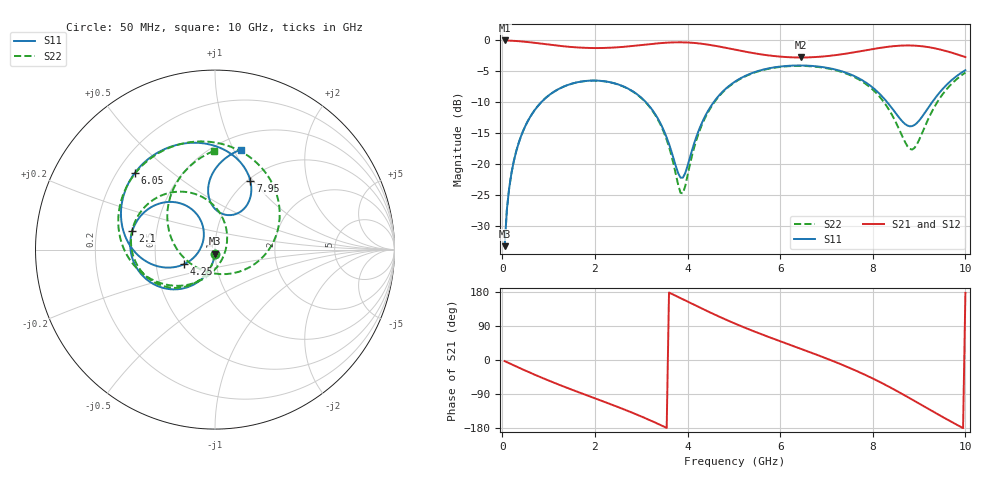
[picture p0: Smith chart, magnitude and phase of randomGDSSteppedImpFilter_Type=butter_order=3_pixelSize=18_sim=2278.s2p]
! freq	dB(S11)	phase(S11)	dB(S12)	phase(S12)
!  dB(S21)	phase(S21)	dB(S22)	phase(S22)
!S-par simulation data
#  GHz  S  DB  R 50
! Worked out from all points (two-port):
!   200 points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, 50 MHz to 10 GHz, reference 50 ohm
!   highest |S21| = -0.01 dB at 50 MHz (marker M1); lowest = -2.8 dB at 6.45 GHz (marker M2)
!   |S21| within 3 dB of the highest: start of sweep to end of sweep
!   lowest |S11| = -33.2 dB at 50 MHz (marker M3), VSWR 1.04, Z = 49.8 - j2.17 ohm
!   |S11| at or under -10 dB: start of sweep to 839.4 MHz; 3.104 GHz to 4.562 GHz (1.458 GHz wide, 38 % of centre); 8.314 GHz to 9.28 GHz (965.8 MHz wide, 11 % of centre)
!   |S22| runs from -33.2 to -4.1 dB; largest |S21 - S12| = 0
!   S11 on the Smith chart (normalised r, x): 50 MHz: 1.00, -0.04; 2.1 GHz: 0.36, +0.09; 4.25 GHz: 0.70, -0.12; 6.05 GHz: 0.27, +0.37; 7.95 GHz: 1.03, +0.97; 10 GHz: 0.64, +1.07
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0.05  -33.23 -92.8  -0.01 -2.9  -0.01 -2.9  -33.23 -92.9
0.1  -27.25 -95.7  -0.02 -5.7  -0.02 -5.7  -27.25 -96.0
0.2  -21.33 -101.5  -0.05 -11.4  -0.05 -11.4  -21.33 -102.0
0.5  -13.78 -117.9  -0.22 -28.1  -0.22 -28.1  -13.78 -119.2
1.1  -8.36 -148.2  -0.76 -59.2  -0.76 -59.2  -8.37 -151.1
1.75  -6.59 -177.5  -1.19 -89.7  -1.19 -89.7  -6.60 177.2
2.1  -6.51 167.5  -1.23 -105.7  -1.23 -105.7  -6.53 160.5
2.8  -8.14 138.2  -0.91 -138.7  -0.91 -138.7  -8.17 124.5
3.4  -13.17 117.1  -0.45 -170.6  -0.45 -170.6  -13.35 84.6
3.85  -22.17 153.3  -0.31 163.2  -0.31 163.2  -24.62 -4.1
4.25  -14.38 -154.7  -0.49 139.4  -0.49 139.4  -14.78 -113.4
5.05  -6.53 177.7  -1.53 94.8  -1.53 94.8  -6.61 -170.8
5.55  -4.88 156.6  -2.21 70.2  -2.21 70.2  -4.95 162.3
6.05  -4.18 136.3  -2.65 47.3  -2.65 47.3  -4.24 137.5
6.45  -4.05 120.6  -2.76 29.3  -2.76 29.3  -4.11 117.9
6.7  -4.13 110.8  -2.71 18.0  -2.71 18.0  -4.20 105.4
7.3  -4.92 87.1  -2.27 -10.6  -2.27 -10.6  -5.03 73.1
7.95  -7.33 62.8  -1.46 -45.8  -1.46 -45.8  -7.62 29.9
8.35  -10.33 54.3  -1.01 -70.6  -1.01 -70.6  -11.19 -7.1
8.85  -13.84 78.1  -0.83 -104.4  -0.83 -104.4  -17.63 -108.2
9.45  -8.35 94.7  -1.46 -146.3  -1.46 -146.3  -9.31 140.6
10  -4.80 75.6  -2.70 177.1  -2.70 177.1  -5.20 90.8
